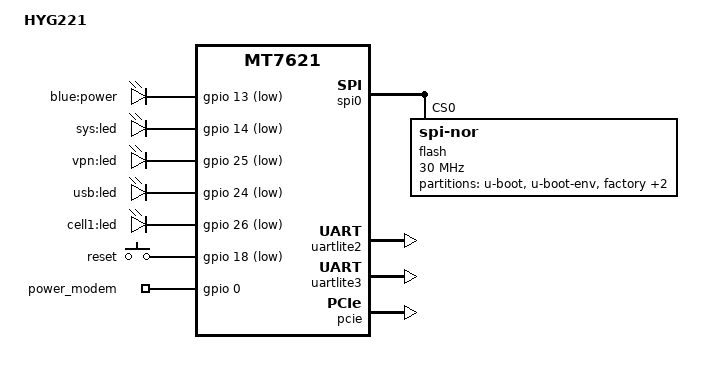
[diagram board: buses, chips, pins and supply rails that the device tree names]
#include "mt7621.dtsi"

#include <dt-bindings/gpio/gpio.h>
#include <dt-bindings/input/input.h>

/ {
	compatible = "hylink,hyg221", "mediatek,mt7621-soc";
	model = "HYG221";

	aliases {
		led-boot = &led_sys;
		led-failsafe = &led_sys;
		led-running = &led_sys;
		led-upgrade = &led_sys;
		label-mac-device = &gmac0;
	};

	chosen {
		bootargs = "console=ttyS0,115200";
	};

	leds {
		compatible = "gpio-leds";

		led_power: power-led {
			label = "blue:power";
			gpios = <&gpio 13 GPIO_ACTIVE_LOW>;
			default-state = "on";
		};

		led_sys: sys-led {
			label = "sys:led";
			gpios = <&gpio 14 GPIO_ACTIVE_LOW>;
		};

		vpn-led {
			label = "vpn:led";
			gpios = <&gpio 25 GPIO_ACTIVE_LOW>;
		};

		usb {
			label = "usb:led";
			gpios = <&gpio 24 GPIO_ACTIVE_LOW>;
			trigger-sources = <&xhci_ehci_port1>, <&ehci_port2>;
			linux,default-trigger = "usbport";
		};

		cell1 {
			label = "cell1:led";
			gpios = <&gpio 26 GPIO_ACTIVE_LOW>;
		};
	};

	keys {
		compatible = "gpio-keys";

		reset {
			label = "reset";
			gpios = <&gpio 18 GPIO_ACTIVE_LOW>;
			linux,code = <KEY_RESTART>;
		};
	};

	gpio_export {
		compatible = "gpio-export";
		#size-cells = <0>;

		modem_power {
			gpio-export,name = "power_modem";
			gpio-export,output = <1>;
			gpios = <&gpio 0 GPIO_ACTIVE_HIGH>;
		};
	};
};

&spi0 {
	status = "okay";

	flash@0 {
		compatible = "jedec,spi-nor";
		reg = <0>;
		spi-max-frequency = <30000000>;
		broken-flash-reset;

		partitions {
			compatible = "fixed-partitions";
			#address-cells = <1>;
			#size-cells = <1>;

			partition@0 {
				label = "u-boot";
				reg = <0x0 0x30000>;
			//	read-only;
			};

			partition@1 {
				label = "u-boot-env";
				reg = <0x30000 0x10000>;
			//	read-only;
			};

			factory: partition@2 {
				label = "factory";
				reg = <0x40000 0x10000>;
			//	read-only;
			};

			partition@3 {
				compatible = "denx,uimage";
				label = "firmware";
				reg = <0x50000 0xfb0000>;
			};

			partition@4 {
				label = "fullflash";
				reg = <0x0 0x0>;
			};
		};
	};
};

&uartlite2 {
	status = "okay";
};

&uartlite3 {
	status = "okay";
};

&pcie {
	status = "okay";
};

&pcie0 {
	mt76@0,0 {
		reg = <0x0000 0 0 0 0>;
		mediatek,mtd-eeprom = <&factory 0x8000>;
		ieee80211-freq-limit = <5000000 6000000>;
	};
};

&pcie1 {
	mt76@0,0 {
		reg = <0x0000 0 0 0 0>;
		mediatek,mtd-eeprom = <&factory 0x0000>;
	};
};

&gmac0 {
	mtd-mac-address = <&factory 0xe000>;
};

&switch0 {
	ports {
		port@0 {
			status = "okay";
			label = "lan4";
		};

		port@1 {
			status = "okay";
			label = "lan3";
		};

		port@2 {
			status = "okay";
			label = "lan2";
		};

		port@3 {
			status = "okay";
			label = "lan1";
		};

		port@4 {
			status = "okay";
			label = "wan";
			mtd-mac-address = <&factory 0xe006>;
		};
	};
};

&state_default {
	gpio {
		groups = "i2c", "jtag", "rgmii2", "wdt";
		function = "gpio";
	};
};
